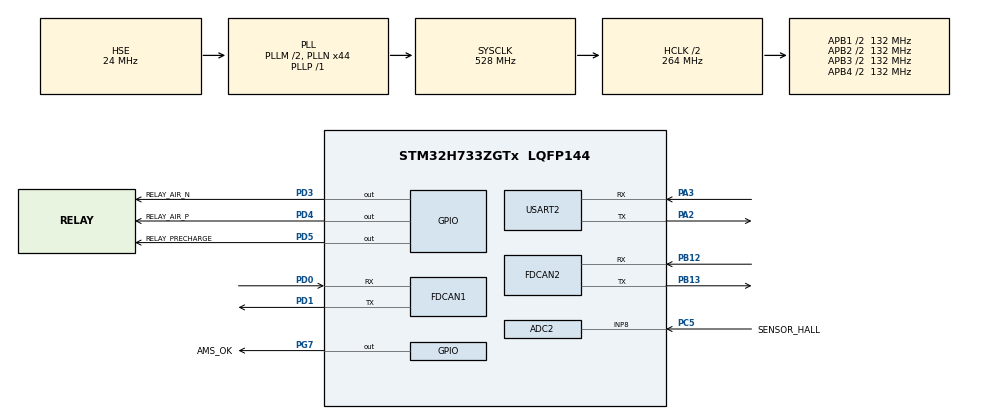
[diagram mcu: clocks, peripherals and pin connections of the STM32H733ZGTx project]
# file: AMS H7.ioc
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ADC2.Channel-0\#ChannelRegularConversion=ADC_CHANNEL_8
ADC2.NbrOfConversionFlag=1
ADC2.OffsetNumber-0\#ChannelRegularConversion=ADC_OFFSET_NONE
ADC2.OffsetSignedSaturation-0\#ChannelRegularConversion=DISABLE
ADC2.Rank-0\#ChannelRegularConversion=1
ADC2.SamplingTime-0\#ChannelRegularConversion=ADC_SAMPLETIME_1CYCLE_5
FDCAN1.CalculateBaudRateNominal=250000
FDCAN1.CalculateTimeBitNominal=4000
FDCAN1.CalculateTimeQuantumNominal=250.0
FDCAN1.ExtFiltersNbr=5
FDCAN1.FrameFormat=FDCAN_FRAME_FD_NO_BRS
FDCAN1.NominalPrescaler=6
FDCAN1.NominalTimeSeg1=10
FDCAN1.NominalTimeSeg2=5
FDCAN1.RxBuffersNbr=1
FDCAN1.RxFifo0ElmtsNbr=32
FDCAN1.RxFifo1ElmtsNbr=32
FDCAN1.StdFiltersNbr=0
FDCAN1.TxBuffersNbr=32
FDCAN1.TxEventsNbr=1
FDCAN1.TxFifoQueueElmtsNbr=32
FDCAN2.CalculateBaudRateNominal=250000
FDCAN2.CalculateTimeBitNominal=4000
FDCAN2.CalculateTimeQuantumNominal=250.0
FDCAN2.ExtFiltersNbr=5
FDCAN2.FrameFormat=FDCAN_FRAME_FD_NO_BRS
FDCAN2.NominalPrescaler=6
FDCAN2.NominalTimeSeg1=10
FDCAN2.NominalTimeSeg2=5
FDCAN2.RxBuffersNbr=1
FDCAN2.RxFifo0ElmtsNbr=32
FDCAN2.RxFifo1ElmtsNbr=32
FDCAN2.StdFiltersNbr=0
FDCAN2.TxBuffersNbr=32
FDCAN2.TxEventsNbr=1
FDCAN2.TxFifoQueueElmtsNbr=32
Mcu.Family=STM32H7
Mcu.Name=STM32H733ZGTx
Mcu.Package=LQFP144
NVIC.PriorityGroup=NVIC_PRIORITYGROUP_4
PA2.Mode=Asynchronous
PA2.Signal=USART2_TX
PA3.Mode=Asynchronous
PA3.Signal=USART2_RX
PB12.Mode=FDCAN_Activate
PB12.Signal=FDCAN2_RX
PB13.Mode=FDCAN_Activate
PB13.Signal=FDCAN2_TX
PC5.GPIO_Label=SENSOR_HALL
PC5.Signal=ADCx_INP8
PD0.Mode=FDCAN_Activate
PD0.Signal=FDCAN1_RX
PD1.Mode=FDCAN_Activate
PD1.Signal=FDCAN1_TX
PD3.GPIO_Label=RELAY_AIR_N
PD3.Signal=GPIO_Output
PD4.GPIO_Label=RELAY_AIR_P
PD4.Signal=GPIO_Output
PD5.GPIO_Label=RELAY_PRECHARGE
PD5.Signal=GPIO_Output
PG7.GPIO_Label=AMS_OK
PG7.Signal=GPIO_Output
PH0-OSC_IN.Mode=HSE-External-Oscillator
PH0-OSC_IN.Signal=RCC_OSC_IN
PH1-OSC_OUT.Mode=HSE-External-Oscillator
PH1-OSC_OUT.Signal=RCC_OSC_OUT
ProjectManager.HeapSize=0x200
ProjectManager.StackSize=0x400
ProjectManager.TargetToolchain=STM32CubeIDE
RCC.ADCFreq_Value=96000000
RCC.APB1Freq_Value=132000000
RCC.APB2Freq_Value=132000000
RCC.APB3Freq_Value=132000000
RCC.APB4Freq_Value=132000000
RCC.CortexFreq_Value=528000000
RCC.D1PPRE=RCC_APB3_DIV2
RCC.D2PPRE1=RCC_APB1_DIV2
RCC.D2PPRE2=RCC_APB2_DIV2
RCC.D3PPRE=RCC_APB4_DIV2
RCC.DIVM1=2
RCC.DIVM2=2
RCC.DIVN1=44
RCC.DIVN2=16
RCC.DIVP1=1
RCC.DIVQ1=4
RCC.FDCANCLockSelection=RCC_FDCANCLKSOURCE_HSE
RCC.HCLKFreq_Value=264000000
RCC.HPRE=RCC_HCLK_DIV2
RCC.HSE_VALUE=24000000
RCC.PLL2FRACN=0
RCC.PLLFRACN=0
RCC.PLLSourceVirtual=RCC_PLLSOURCE_HSE
RCC.SYSCLKFreq_VALUE=528000000
RCC.SYSCLKSource=RCC_SYSCLKSOURCE_PLLCLK
RCC.USBFreq_Value=132000000
SH.ADCx_INP8.0=ADC2_INP8,IN8-Single-Ended
USART2.VirtualMode-Asynchronous=VM_ASYNC
board=custom

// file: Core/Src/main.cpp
/* USER CODE BEGIN Header */
/**
  ******************************************************************************
  * @file           : main.c
  * @brief          : Main program body
  ******************************************************************************
  * @attention
  *
  * Copyright (c) 2024 STMicroelectronics.
  * All rights reserved.
  *
  * This software is licensed under terms that can be found in the LICENSE file
  * in the root directory of this software component.
  * If no LICENSE file comes with this software, it is provided AS-IS.
  *
  ******************************************************************************
  */
/* USER CODE END Header */
#include "main.h"

/* USER CODE BEGIN Includes */
#include "module_state_machine.h"
#include <stdio.h>
#include <string.h>
#include <stdlib.h>
/* USER CODE END Includes */

ADC_HandleTypeDef hadc2;

FDCAN_HandleTypeDef hfdcan1;
FDCAN_HandleTypeDef hfdcan2;

UART_HandleTypeDef huart2;

/* USER CODE BEGIN PV */
//hfdcan1 Acumulator
//hfdcan2 BMS

FDCAN_TxHeaderTypeDef TxHeader_acu;
FDCAN_TxHeaderTypeDef TxHeader_bms;

FDCAN_RxHeaderTypeDef RxHeader_acu;
FDCAN_RxHeaderTypeDef RxHeader_bms;

uint8_t RxData[8];

char uart_msg[100];
/* USER CODE END PV */

void SystemClock_Config(void);
static void MX_GPIO_Init(void);
static void MX_ADC2_Init(void);
static void MX_FDCAN2_Init(void);
static void MX_FDCAN1_Init(void);
static void MX_USART2_UART_Init(void);

/* USER CODE BEGIN 0 */

struct CANMsg msg_bms, msg_acu;

/* USER CODE END 0 */

int main(void)
{

  /* MCU Configuration--------------------------------------------------------*/

  /* Reset of all peripherals, Initializes the Flash interface and the Systick. */
  HAL_Init();

  /* Configure the system clock */
  SystemClock_Config();

  /* Initialize all configured peripherals */
  MX_GPIO_Init();
  MX_ADC2_Init();
  MX_FDCAN2_Init();
  MX_FDCAN1_Init();
  MX_USART2_UART_Init();
  /* USER CODE BEGIN 2 */

  if (HAL_FDCAN_Start(&hfdcan1) == HAL_OK){
	  print((char*)"CAN_ACU iniciado");
  }
  //Acumulador
  if (HAL_FDCAN_Start(&hfdcan2) == HAL_OK){
	  print((char*)"CAN_BMS iniciado");
  }

  //setup_state_machine();

  /* USER CODE END 2 */

  /* Infinite loop */
  /* USER CODE BEGIN WHILE */
  while (1)
  {
	  select_state();

	  if (HAL_FDCAN_GetRxMessage(&hfdcan1, FDCAN_RX_FIFO0, &RxHeader_acu, RxData) == HAL_OK) {
		  msg_acu.id = RxHeader_acu.Identifier;
		  msg_acu.len = RxHeader_acu.DataLength;
		  for (int i = 0; i < 8; i++) {msg_acu.buf[i] = RxData[i];}
		  msg_acu.bus = 1;
		  msg_acu.time = HAL_GetTick();
		  parse_state(msg_acu);
	  }

	  if (HAL_FDCAN_GetRxMessage(&hfdcan2, FDCAN_RX_FIFO0, &RxHeader_bms, RxData) == HAL_OK) {

		  msg_bms.id = RxHeader_bms.Identifier;
		  msg_bms.len = RxHeader_bms.DataLength;
		  for (int i = 0; i < 8; i++) {msg_bms.buf[i] = RxData[i];}
		  msg_bms.bus = 2;
		  msg_bms.time = HAL_GetTick();

		  parse_state(msg_bms);
	  }
    /* USER CODE END WHILE */

  }
}

void SystemClock_Config(void)
{
  RCC_OscInitTypeDef RCC_OscInitStruct = {0};
  RCC_ClkInitTypeDef RCC_ClkInitStruct = {0};

  /** Supply configuration update enable
  */
  HAL_PWREx_ConfigSupply(PWR_LDO_SUPPLY);

  /** Configure the main internal regulator output voltage
  */
  __HAL_PWR_VOLTAGESCALING_CONFIG(PWR_REGULATOR_VOLTAGE_SCALE0);

  while(!__HAL_PWR_GET_FLAG(PWR_FLAG_VOSRDY)) {}

  /** Initializes the RCC Oscillators according to the specified parameters
  * in the RCC_OscInitTypeDef structure.
  */
  RCC_OscInitStruct.OscillatorType = RCC_OSCILLATORTYPE_HSE;
  RCC_OscInitStruct.HSEState = RCC_HSE_ON;
  RCC_OscInitStruct.PLL.PLLState = RCC_PLL_ON;
  RCC_OscInitStruct.PLL.PLLSource = RCC_PLLSOURCE_HSE;
  RCC_OscInitStruct.PLL.PLLM = 2;
  RCC_OscInitStruct.PLL.PLLN = 44;
  RCC_OscInitStruct.PLL.PLLP = 1;
  RCC_OscInitStruct.PLL.PLLQ = 4;
  RCC_OscInitStruct.PLL.PLLR = 2;
  RCC_OscInitStruct.PLL.PLLRGE = RCC_PLL1VCIRANGE_3;
  RCC_OscInitStruct.PLL.PLLVCOSEL = RCC_PLL1VCOWIDE;
  RCC_OscInitStruct.PLL.PLLFRACN = 0;
  if (HAL_RCC_OscConfig(&RCC_OscInitStruct) != HAL_OK)
  {
    Error_Handler();
  }

  /** Initializes the CPU, AHB and APB buses clocks
  */
  RCC_ClkInitStruct.ClockType = RCC_CLOCKTYPE_HCLK|RCC_CLOCKTYPE_SYSCLK
                              |RCC_CLOCKTYPE_PCLK1|RCC_CLOCKTYPE_PCLK2
                              |RCC_CLOCKTYPE_D3PCLK1|RCC_CLOCKTYPE_D1PCLK1;
  RCC_ClkInitStruct.SYSCLKSource = RCC_SYSCLKSOURCE_PLLCLK;
  RCC_ClkInitStruct.SYSCLKDivider = RCC_SYSCLK_DIV1;
  RCC_ClkInitStruct.AHBCLKDivider = RCC_HCLK_DIV2;
  RCC_ClkInitStruct.APB3CLKDivider = RCC_APB3_DIV2;
  RCC_ClkInitStruct.APB1CLKDivider = RCC_APB1_DIV2;
  RCC_ClkInitStruct.APB2CLKDivider = RCC_APB2_DIV2;
  RCC_ClkInitStruct.APB4CLKDivider = RCC_APB4_DIV2;

  if (HAL_RCC_ClockConfig(&RCC_ClkInitStruct, FLASH_LATENCY_3) != HAL_OK)
  {
    Error_Handler();
  }
}

static void MX_ADC2_Init(void)
{

  ADC_ChannelConfTypeDef sConfig = {0};

  /** Common config
  */
  hadc2.Instance = ADC2;
  hadc2.Init.ClockPrescaler = ADC_CLOCK_ASYNC_DIV1;
  hadc2.Init.Resolution = ADC_RESOLUTION_16B;
  hadc2.Init.ScanConvMode = ADC_SCAN_DISABLE;
  hadc2.Init.EOCSelection = ADC_EOC_SINGLE_CONV;
  hadc2.Init.LowPowerAutoWait = DISABLE;
  hadc2.Init.ContinuousConvMode = DISABLE;
  hadc2.Init.NbrOfConversion = 1;
  hadc2.Init.DiscontinuousConvMode = DISABLE;
  hadc2.Init.ExternalTrigConv = ADC_SOFTWARE_START;
  hadc2.Init.ExternalTrigConvEdge = ADC_EXTERNALTRIGCONVEDGE_NONE;
  hadc2.Init.ConversionDataManagement = ADC_CONVERSIONDATA_DR;
  hadc2.Init.Overrun = ADC_OVR_DATA_PRESERVED;
  hadc2.Init.LeftBitShift = ADC_LEFTBITSHIFT_NONE;
  hadc2.Init.OversamplingMode = DISABLE;
  hadc2.Init.Oversampling.Ratio = 1;
  if (HAL_ADC_Init(&hadc2) != HAL_OK)
  {
    Error_Handler();
  }

  /** Configure Regular Channel
  */
  sConfig.Channel = ADC_CHANNEL_8;
  sConfig.Rank = ADC_REGULAR_RANK_1;
  sConfig.SamplingTime = ADC_SAMPLETIME_1CYCLE_5;
  sConfig.SingleDiff = ADC_SINGLE_ENDED;
  sConfig.OffsetNumber = ADC_OFFSET_NONE;
  sConfig.Offset = 0;
  sConfig.OffsetSignedSaturation = DISABLE;
  if (HAL_ADC_ConfigChannel(&hadc2, &sConfig) != HAL_OK)
  {
    Error_Handler();
  }

}

static void MX_FDCAN1_Init(void)
{

  hfdcan1.Instance = FDCAN1;
  hfdcan1.Init.FrameFormat = FDCAN_FRAME_FD_NO_BRS;
  hfdcan1.Init.Mode = FDCAN_MODE_NORMAL;
  hfdcan1.Init.AutoRetransmission = DISABLE;
  hfdcan1.Init.TransmitPause = DISABLE;
  hfdcan1.Init.ProtocolException = DISABLE;
  hfdcan1.Init.NominalPrescaler = 6;
  hfdcan1.Init.NominalSyncJumpWidth = 1;
  hfdcan1.Init.NominalTimeSeg1 = 10;
  hfdcan1.Init.NominalTimeSeg2 = 5;
  hfdcan1.Init.DataPrescaler = 1;
  hfdcan1.Init.DataSyncJumpWidth = 1;
  hfdcan1.Init.DataTimeSeg1 = 1;
  hfdcan1.Init.DataTimeSeg2 = 1;
  hfdcan1.Init.MessageRAMOffset = 0;
  hfdcan1.Init.StdFiltersNbr = 0;
  hfdcan1.Init.ExtFiltersNbr = 5;
  hfdcan1.Init.RxFifo0ElmtsNbr = 32;
  hfdcan1.Init.RxFifo0ElmtSize = FDCAN_DATA_BYTES_8;
  hfdcan1.Init.RxFifo1ElmtsNbr = 32;
  hfdcan1.Init.RxFifo1ElmtSize = FDCAN_DATA_BYTES_8;
  hfdcan1.Init.RxBuffersNbr = 1;
  hfdcan1.Init.RxBufferSize = FDCAN_DATA_BYTES_8;
  hfdcan1.Init.TxEventsNbr = 1;
  hfdcan1.Init.TxBuffersNbr = 32;
  hfdcan1.Init.TxFifoQueueElmtsNbr = 32;
  hfdcan1.Init.TxFifoQueueMode = FDCAN_TX_FIFO_OPERATION;
  hfdcan1.Init.TxElmtSize = FDCAN_DATA_BYTES_8;
  if (HAL_FDCAN_Init(&hfdcan1) != HAL_OK)
  {
    Error_Handler();
  }
  /* USER CODE BEGIN FDCAN1_Init 2 */
  FDCAN_FilterTypeDef sFilterConfig;
  sFilterConfig.IdType = FDCAN_EXTENDED_ID;
  sFilterConfig.FilterIndex = 0;
  sFilterConfig.FilterType = FDCAN_FILTER_MASK;
  sFilterConfig.FilterConfig = FDCAN_FILTER_TO_RXFIFO0;
  sFilterConfig.FilterID1 = 0x10;
  sFilterConfig.FilterID2 = 0x10;
  if (HAL_FDCAN_ConfigFilter(&hfdcan1, &sFilterConfig) != HAL_OK)
  {
    Error_Handler();
  }
  /* USER CODE END FDCAN1_Init 2 */

}

static void MX_FDCAN2_Init(void)
{

  hfdcan2.Instance = FDCAN2;
  hfdcan2.Init.FrameFormat = FDCAN_FRAME_FD_NO_BRS;
  hfdcan2.Init.Mode = FDCAN_MODE_NORMAL;
  hfdcan2.Init.AutoRetransmission = DISABLE;
  hfdcan2.Init.TransmitPause = DISABLE;
  hfdcan2.Init.ProtocolException = DISABLE;
  hfdcan2.Init.NominalPrescaler = 6;
  hfdcan2.Init.NominalSyncJumpWidth = 1;
  hfdcan2.Init.NominalTimeSeg1 = 10;
  hfdcan2.Init.NominalTimeSeg2 = 5;
  hfdcan2.Init.DataPrescaler = 1;
  hfdcan2.Init.DataSyncJumpWidth = 1;
  hfdcan2.Init.DataTimeSeg1 = 1;
  hfdcan2.Init.DataTimeSeg2 = 1;
  hfdcan2.Init.MessageRAMOffset = 0;
  hfdcan2.Init.StdFiltersNbr = 0;
  hfdcan2.Init.ExtFiltersNbr = 5;
  hfdcan2.Init.RxFifo0ElmtsNbr = 32;
  hfdcan2.Init.RxFifo0ElmtSize = FDCAN_DATA_BYTES_8;
  hfdcan2.Init.RxFifo1ElmtsNbr = 32;
  hfdcan2.Init.RxFifo1ElmtSize = FDCAN_DATA_BYTES_8;
  hfdcan2.Init.RxBuffersNbr = 1;
  hfdcan2.Init.RxBufferSize = FDCAN_DATA_BYTES_8;
  hfdcan2.Init.TxEventsNbr = 1;
  hfdcan2.Init.TxBuffersNbr = 32;
  hfdcan2.Init.TxFifoQueueElmtsNbr = 32;
  hfdcan2.Init.TxFifoQueueMode = FDCAN_TX_FIFO_OPERATION;
  hfdcan2.Init.TxElmtSize = FDCAN_DATA_BYTES_8;
  if (HAL_FDCAN_Init(&hfdcan2) != HAL_OK)
  {
    Error_Handler();
  }
  /* USER CODE BEGIN FDCAN2_Init 2 */
  FDCAN_FilterTypeDef sFilterConfig;
  sFilterConfig.IdType = FDCAN_EXTENDED_ID;
  sFilterConfig.FilterIndex = 0;
  sFilterConfig.FilterType = FDCAN_FILTER_MASK;
  sFilterConfig.FilterConfig = FDCAN_FILTER_TO_RXFIFO0;
  sFilterConfig.FilterID1 = 0x10;
  sFilterConfig.FilterID2 = 0x10;
  if (HAL_FDCAN_ConfigFilter(&hfdcan2, &sFilterConfig) != HAL_OK)
  {
    Error_Handler();
  }
  /* USER CODE END FDCAN2_Init 2 */

}

static void MX_USART2_UART_Init(void)
{

  huart2.Instance = USART2;
  huart2.Init.BaudRate = 115200;
  huart2.Init.WordLength = UART_WORDLENGTH_8B;
  huart2.Init.StopBits = UART_STOPBITS_1;
  huart2.Init.Parity = UART_PARITY_NONE;
  huart2.Init.Mode = UART_MODE_TX_RX;
  huart2.Init.HwFlowCtl = UART_HWCONTROL_NONE;
  huart2.Init.OverSampling = UART_OVERSAMPLING_16;
  huart2.Init.OneBitSampling = UART_ONE_BIT_SAMPLE_DISABLE;
  huart2.Init.ClockPrescaler = UART_PRESCALER_DIV1;
  huart2.AdvancedInit.AdvFeatureInit = UART_ADVFEATURE_NO_INIT;
  if (HAL_UART_Init(&huart2) != HAL_OK)
  {
    Error_Handler();
  }
  if (HAL_UARTEx_SetTxFifoThreshold(&huart2, UART_TXFIFO_THRESHOLD_1_8) != HAL_OK)
  {
    Error_Handler();
  }
  if (HAL_UARTEx_SetRxFifoThreshold(&huart2, UART_RXFIFO_THRESHOLD_1_8) != HAL_OK)
  {
    Error_Handler();
  }
  if (HAL_UARTEx_DisableFifoMode(&huart2) != HAL_OK)
  {
    Error_Handler();
  }

}

static void MX_GPIO_Init(void)
{
  GPIO_InitTypeDef GPIO_InitStruct = {0};

  /* GPIO Ports Clock Enable */
  __HAL_RCC_GPIOH_CLK_ENABLE();
  __HAL_RCC_GPIOA_CLK_ENABLE();
  __HAL_RCC_GPIOC_CLK_ENABLE();
  __HAL_RCC_GPIOB_CLK_ENABLE();
  __HAL_RCC_GPIOG_CLK_ENABLE();
  __HAL_RCC_GPIOD_CLK_ENABLE();

  /*Configure GPIO pin Output Level */
  HAL_GPIO_WritePin(AMS_OK_GPIO_Port, AMS_OK_Pin, GPIO_PIN_RESET);

  /*Configure GPIO pin Output Level */
  HAL_GPIO_WritePin(GPIOD, RELAY_AIR_N_Pin|RELAY_AIR_P_Pin|RELAY_PRECHARGE_Pin, GPIO_PIN_RESET);

  /*Configure GPIO pin : AMS_OK_Pin */
  GPIO_InitStruct.Pin = AMS_OK_Pin;
  GPIO_InitStruct.Mode = GPIO_MODE_OUTPUT_PP;
  GPIO_InitStruct.Pull = GPIO_NOPULL;
  GPIO_InitStruct.Speed = GPIO_SPEED_FREQ_LOW;
  HAL_GPIO_Init(AMS_OK_GPIO_Port, &GPIO_InitStruct);

  /*Configure GPIO pins : RELAY_AIR_N_Pin RELAY_AIR_P_Pin RELAY_PRECHARGE_Pin */
  GPIO_InitStruct.Pin = RELAY_AIR_N_Pin|RELAY_AIR_P_Pin|RELAY_PRECHARGE_Pin;
  GPIO_InitStruct.Mode = GPIO_MODE_OUTPUT_PP;
  GPIO_InitStruct.Pull = GPIO_NOPULL;
  GPIO_InitStruct.Speed = GPIO_SPEED_FREQ_LOW;
  HAL_GPIO_Init(GPIOD, &GPIO_InitStruct);

}

/* USER CODE BEGIN 4 */

//extended ID
HAL_StatusTypeDef module_send_message_CAN1(uint32_t id, uint8_t* data, uint8_t length) {
	TxHeader_acu.Identifier = id;
	TxHeader_acu.IdType = FDCAN_EXTENDED_ID;
	TxHeader_acu.DataLength = length;

	HAL_StatusTypeDef status = HAL_FDCAN_AddMessageToTxFifoQ(&hfdcan1, &TxHeader_acu, data);

	return status;
}

//NO extended ID
HAL_StatusTypeDef module_send_message_NoExtId_CAN1(uint32_t id, uint8_t* data, uint8_t length) {
	TxHeader_acu.Identifier = id;
	TxHeader_acu.IdType = FDCAN_STANDARD_ID;
	TxHeader_acu.DataLength = length;

	HAL_StatusTypeDef status = HAL_FDCAN_AddMessageToTxFifoQ(&hfdcan1, &TxHeader_acu, data);

	return status;
}

HAL_StatusTypeDef module_send_message_CAN2(uint32_t id, uint8_t* data, uint8_t length) {
	TxHeader_bms.Identifier = id;
	TxHeader_bms.IdType = FDCAN_EXTENDED_ID;
	TxHeader_bms.DataLength = length;

	HAL_StatusTypeDef status = HAL_FDCAN_AddMessageToTxFifoQ(&hfdcan2, &TxHeader_bms, data);

	return status;
}

void print(char uart_buffer[]){
	sprintf(uart_msg, "%s \n\r", uart_buffer);
	HAL_UART_Transmit(&huart2,(uint8_t*)uart_msg,strlen(uart_msg),HAL_MAX_DELAY);
}

void printnl(char uart_buffer[]){
	sprintf(uart_msg, "%s", uart_buffer);
	HAL_UART_Transmit(&huart2,(uint8_t*)uart_msg,strlen(uart_msg),HAL_MAX_DELAY);
}

void printValue(int value){
	sprintf(uart_msg, "%hu \n\r", value);
	HAL_UART_Transmit(&huart2,(uint8_t*)uart_msg,strlen(uart_msg),HAL_MAX_DELAY);
}

HAL_UART_StateTypeDef getUARTState(){
	return HAL_UART_GetState(&huart2);
}

float readAnalogValue(void){
	float analogValue;
	ADC_ChannelConfTypeDef sConfig = {0};
	  /** Configure for the selected ADC regular channel its corresponding rank in the sequencer and its sample time.
	  */
	sConfig.Channel = ADC_CHANNEL_8;
	sConfig.Rank = ADC_REGULAR_RANK_1;
	sConfig.SamplingTime = ADC_SAMPLETIME_2CYCLES_5;
	sConfig.SingleDiff = ADC_SINGLE_ENDED;
	sConfig.OffsetNumber = ADC_OFFSET_NONE;
	sConfig.Offset = 0;
	if (HAL_ADC_ConfigChannel(&hadc2, &sConfig) != HAL_OK)
	{
	  Error_Handler();
	}

	HAL_ADC_Start(&hadc2);
	HAL_ADC_PollForConversion(&hadc2, HAL_MAX_DELAY);
	analogValue = HAL_ADC_GetValue(&hadc2);
	HAL_ADC_Stop(&hadc2);
	return analogValue;
}

/* USER CODE END 4 */

void Error_Handler(void)
{
  __disable_irq();
  while (1)
  {
  }
}
